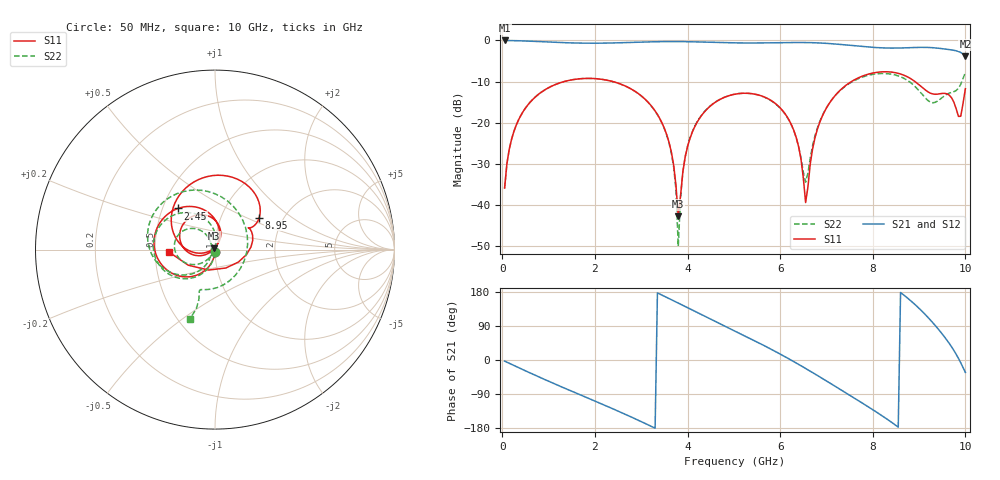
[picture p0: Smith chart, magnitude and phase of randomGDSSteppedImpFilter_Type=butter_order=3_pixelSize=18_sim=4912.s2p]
! freq	dB(S11)	phase(S11)	dB(S12)	phase(S12)
!  dB(S21)	phase(S21)	dB(S22)	phase(S22)
!S-par simulation data
#  GHz  S  DB  R 50
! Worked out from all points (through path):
!   200 points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, 50 MHz to 10 GHz, reference 50 ohm
!   highest |S21| = -0.01 dB at 50 MHz (marker M1); lowest = -3.9 dB at 10 GHz (marker M2)
!   group delay of S21, straight-line fit = 187 ps
!   lowest |S11| = -42.9 dB at 3.8 GHz (marker M3), VSWR 1.01, Z = 49.6 + j0.612 ohm
!   |S11| at or under -10 dB: start of sweep to 1.34 GHz; 2.382 GHz to 7.541 GHz (5.159 GHz wide, 104 % of centre); 8.909 GHz to end of sweep
!   |S22| runs from -50.1 to -7.7 dB; largest |S21 - S12| = 0
!   S11 on the Smith chart (normalised r, x): 50 MHz: 1.00, -0.03; 2.45 GHz: 0.60, +0.30; 8.95 GHz: 1.51, +0.59; 10 GHz: 0.59, -0.02
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0.05  -35.95 -92.6  -0.01 -2.9  -0.01 -2.9  -35.95 -92.4
0.2  -24.07 -102.2  -0.04 -11.5  -0.04 -11.5  -24.07 -101.3
0.5  -16.48 -120.1  -0.14 -28.5  -0.14 -28.5  -16.47 -117.9
1.75  -9.27 170.2  -0.66 -95.4  -0.66 -95.4  -9.27 178.0
2.45  -10.22 131.9  -0.60 -132.1  -0.60 -132.1  -10.22 143.3
3.4  -19.00 77.8  -0.30 174.1  -0.30 174.1  -19.07 93.7
3.7  -30.33 68.3  -0.27 156.2  -0.27 156.2  -30.77 80.8
3.75  -35.23 75.0  -0.27 153.2  -0.27 153.2  -36.31 82.4
3.8  -42.85 121.1  -0.28 150.2  -0.28 150.2  -50.09 137.1
3.9  -31.91 -152.4  -0.29 144.1  -0.29 144.1  -31.84 -121.2
4.1  -22.41 -154.8  -0.33 132.1  -0.33 132.1  -22.32 -128.5
5.05  -13.03 148.1  -0.60 75.0  -0.60 75.0  -13.01 -179.0
6.15  -18.58 75.7  -0.52 5.6  -0.52 5.6  -18.67 123.6
6.4  -25.93 63.0  -0.50 -11.6  -0.50 -11.6  -25.91 120.3
6.55  -39.46 115.6  -0.51 -22.3  -0.51 -22.3  -34.50 177.2
6.7  -26.42 -162.6  -0.55 -33.2  -0.55 -33.2  -25.67 -121.2
7.5  -10.29 142.6  -1.19 -92.9  -1.19 -92.9  -10.43 -158.6
8.35  -7.65 76.3  -1.86 -159.6  -1.86 -159.6  -8.14 138.2
8.95  -10.35 35.8  -1.71 142.0  -1.71 142.0  -11.64 66.9
9.5  -12.90 29.5  -2.01 68.6  -2.01 68.6  -13.89 -76.6
9.9  -18.46 -107.4  -2.94 -7.4  -2.94 -7.4  -10.66 -107.9
10  -11.75 -177.3  -3.87 -32.8  -3.87 -32.8  -7.75 -109.8
